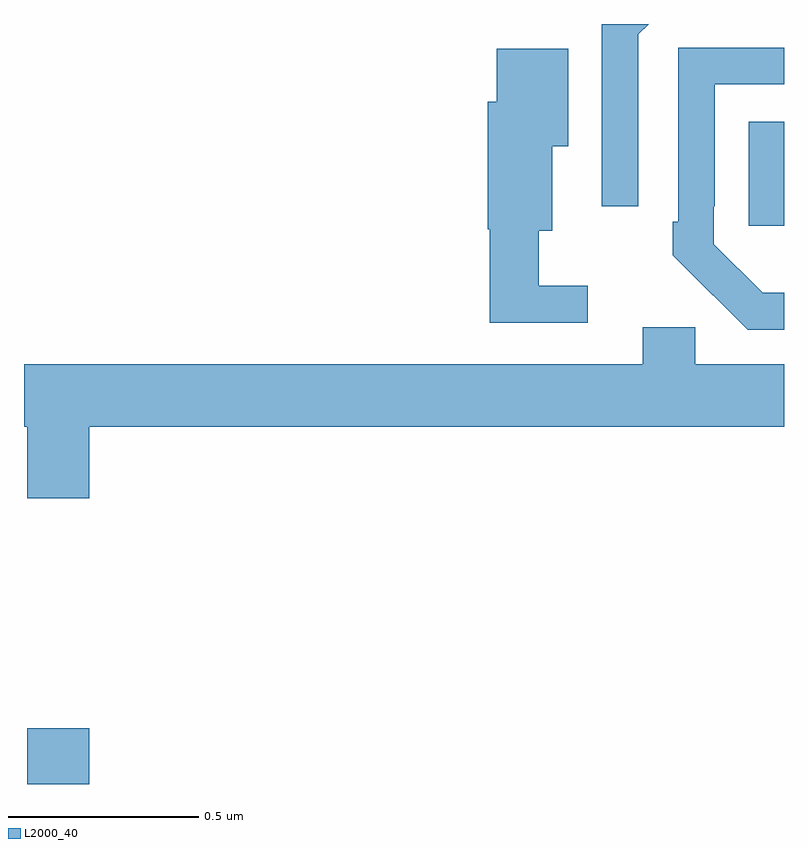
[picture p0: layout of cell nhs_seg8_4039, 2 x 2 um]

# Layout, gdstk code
import gdstk
lib = gdstk.Library(unit=1e-6, precision=1e-09)
def R(c, l, rs):  # rectangles x0, y0, x1, y1
    for r in rs: c.add(gdstk.rectangle(r[:2], r[2:], *l))
def P(c, l, *ps):  # polygons
    for p in ps: c.add(gdstk.Polygon(p, *l))
L2000_40 = (2000, 40)

nhs_seg8_4039 = lib.new_cell('nhs_seg8_4039')
R(nhs_seg8_4039, L2000_40, [(165.008,1108.9,165.172,1109.047), (166.907,1110.369,167,1110.643)])
P(nhs_seg8_4039, L2000_40, [(166.617,1110.873),(166.644,1110.9),(166.521,1110.9),(166.521,1110.42),(166.617,1110.42)],
  [(167,1110.193),(166.944,1110.193),(166.815,1110.321),(166.815,1110.421),(166.818,1110.421),(166.818,1110.741),(167,1110.741),(167,1110.837),(166.722,1110.837),(166.722,1110.379),(166.707,1110.379),(166.707,1110.291),(166.812,1110.186),(166.813,1110.187),(166.904,1110.096),(167,1110.096)],
  [(166.483,1110.211),(166.354,1110.211),(166.354,1110.356),(166.39,1110.356),(166.39,1110.578),(166.432,1110.578),(166.432,1110.835),(166.244,1110.835),(166.244,1110.696),(166.22,1110.696),(166.22,1110.36),(166.225,1110.36),(166.225,1110.114),(166.483,1110.114)],
  [(165.172,1109.84),(167,1109.84),(167,1110.004),(166.767,1110.004),(166.767,1110.102),(166.628,1110.102),(166.628,1110.004),(165,1110.004),(165,1109.84),(165.008,1109.84),(165.008,1109.652),(165.172,1109.652)])

lib.write_gds('nhs_seg8_4039.gds')
